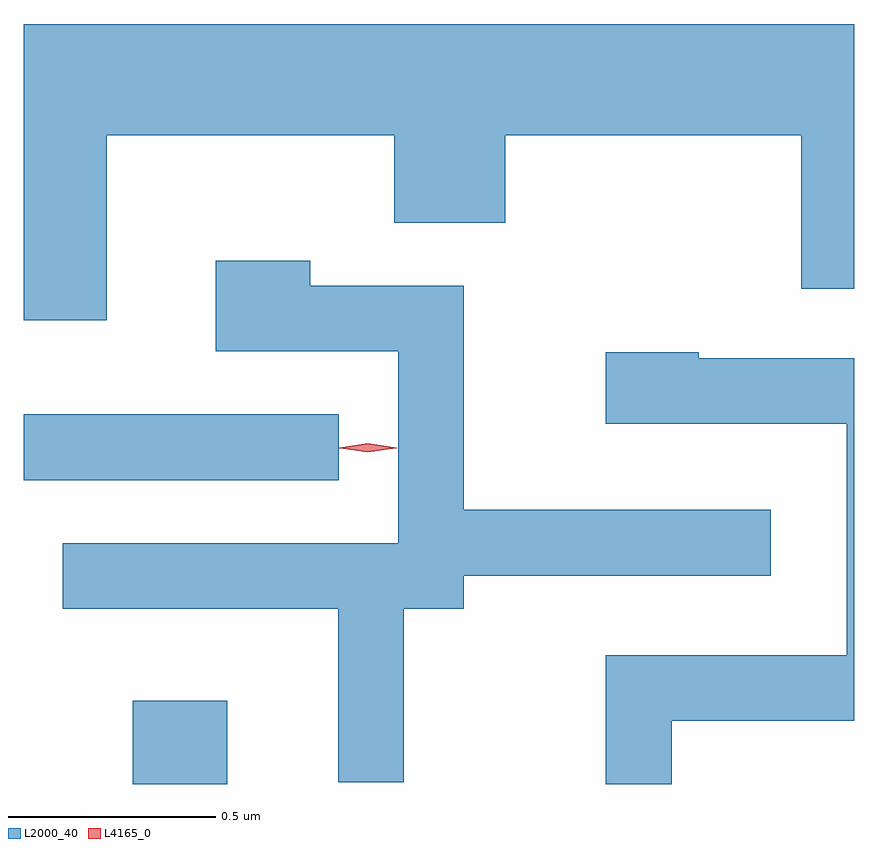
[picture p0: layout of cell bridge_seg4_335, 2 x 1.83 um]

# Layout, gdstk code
import gdstk
lib = gdstk.Library(unit=1e-6, precision=1e-09)
def R(c, l, rs):  # rectangles x0, y0, x1, y1
    for r in rs: c.add(gdstk.rectangle(r[:2], r[2:], *l))
def P(c, l, *ps):  # polygons
    for p in ps: c.add(gdstk.Polygon(p, *l))
L2000_40 = (2000, 40)
L4165_0 = (4165, 0)

bridge_seg4_335 = lib.new_cell('bridge_seg4_335')
R(bridge_seg4_335, L2000_40, [(627.311,1264.314,627.539,1264.514), (627.049,1265.046,627.808,1265.204)])
P(bridge_seg4_335, L2000_40, [(627.249,1265.876),(627.941,1265.876),(627.941,1265.666),(628.209,1265.666),(628.209,1265.876),(628.921,1265.876),(628.921,1265.506),(629.049,1265.506),(629.049,1266.144),(627.049,1266.144),(627.049,1265.431),(627.249,1265.431)],
  [(627.964,1264.736),(628.109,1264.736),(628.109,1264.816),(628.848,1264.816),(628.848,1264.974),(628.109,1264.974),(628.109,1265.514),(627.739,1265.514),(627.739,1265.574),(627.511,1265.574),(627.511,1265.356),(627.951,1265.356),(627.951,1264.894),(627.143,1264.894),(627.143,1264.736),(627.806,1264.736),(627.806,1264.318),(627.964,1264.318)],
  [(628.609,1264.466),(629.049,1264.466),(629.049,1265.339),(628.675,1265.339),(628.675,1265.354),(628.451,1265.354),(628.451,1265.181),(629.031,1265.181),(629.031,1264.624),(628.451,1264.624),(628.451,1264.314),(628.609,1264.314)])
P(bridge_seg4_335, L4165_0, [(627.878,1265.113),(627.812,1265.122),(627.812,1265.123),(627.812,1265.123),(627.878,1265.133),(627.944,1265.123),(627.945,1265.123),(627.944,1265.122)],
  [(627.878,1265.114),(627.809,1265.123),(627.809,1265.124),(627.809,1265.124),(627.878,1265.134),(627.947,1265.124),(627.947,1265.124),(627.947,1265.123)])

lib.write_gds('bridge_seg4_335.gds')
